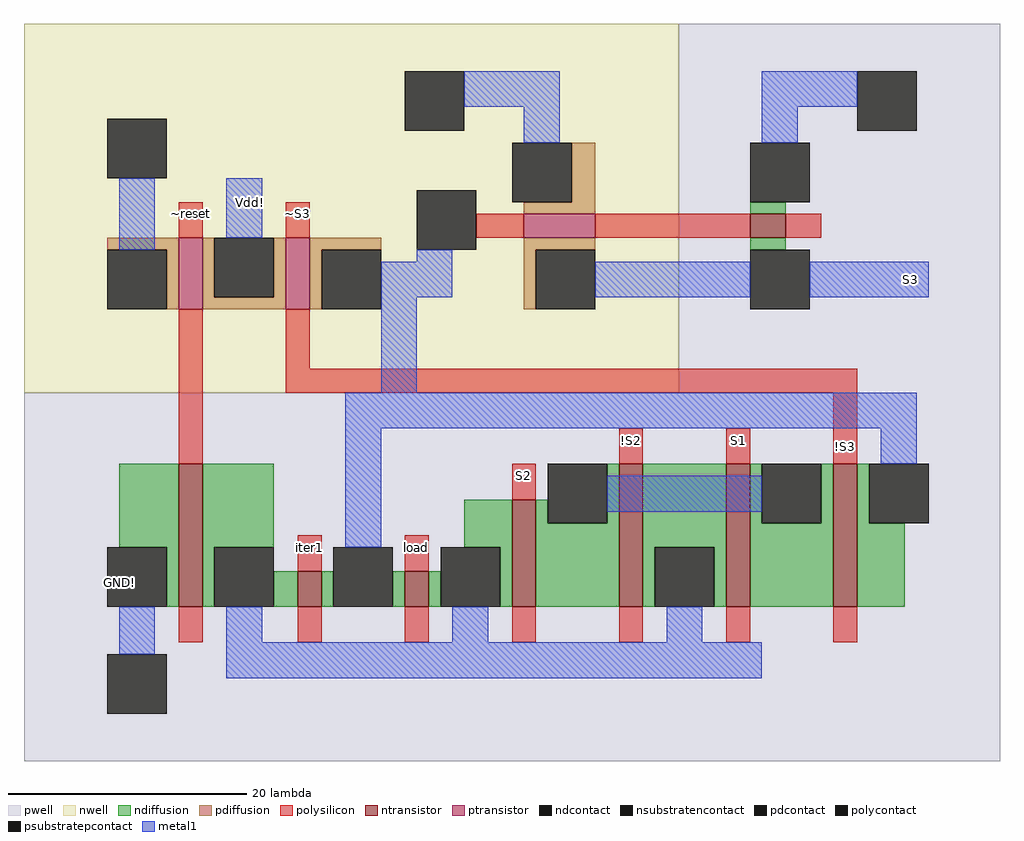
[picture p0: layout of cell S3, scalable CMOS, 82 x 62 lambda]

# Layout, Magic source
magic
tech scmos
<< nwell >>
rect -78 35 -23 66
<< pwell >>
rect -23 35 4 66
rect -78 4 4 35
<< ntransistor >>
rect -17 48 -14 50
rect -65 17 -63 29
rect -55 17 -53 20
rect -46 17 -44 20
rect -37 17 -35 26
rect -28 17 -26 29
rect -19 17 -17 29
rect -10 17 -8 29
<< ptransistor >>
rect -65 42 -63 48
rect -56 42 -54 48
rect -36 48 -30 50
<< ndiffusion >>
rect -17 50 -14 51
rect -17 47 -14 48
rect -70 22 -65 29
rect -66 17 -65 22
rect -63 22 -57 29
rect -63 17 -62 22
rect -57 17 -55 20
rect -53 17 -52 20
rect -41 22 -37 26
rect -47 17 -46 20
rect -44 17 -43 20
rect -38 17 -37 22
rect -35 24 -34 26
rect -29 24 -28 29
rect -35 17 -28 24
rect -26 22 -19 29
rect -26 17 -25 22
rect -20 17 -19 22
rect -17 24 -16 29
rect -11 24 -10 29
rect -17 17 -10 24
rect -8 24 -7 29
rect -8 17 -4 24
<< pdiffusion >>
rect -71 47 -65 48
rect -66 42 -65 47
rect -63 43 -62 48
rect -57 43 -56 48
rect -63 42 -56 43
rect -54 47 -48 48
rect -32 51 -30 56
rect -36 50 -30 51
rect -36 47 -30 48
rect -54 42 -53 47
rect -36 42 -35 47
<< ndcontact >>
rect -17 51 -12 56
rect -17 42 -12 47
rect -71 17 -66 22
rect -62 17 -57 22
rect -52 17 -47 22
rect -43 17 -38 22
rect -34 24 -29 29
rect -25 17 -20 22
rect -16 24 -11 29
rect -7 24 -2 29
<< pdcontact >>
rect -71 42 -66 47
rect -62 43 -57 48
rect -37 51 -32 56
rect -53 42 -48 47
rect -35 42 -30 47
<< psubstratepcontact >>
rect -8 57 -3 62
rect -71 8 -66 13
<< nsubstratencontact >>
rect -71 53 -66 58
rect -46 57 -41 62
<< polysilicon >>
rect -65 48 -63 51
rect -56 48 -54 51
rect -40 48 -36 50
rect -30 48 -17 50
rect -14 48 -11 50
rect -65 29 -63 42
rect -56 37 -54 42
rect -56 35 -8 37
rect -28 29 -26 32
rect -19 29 -17 32
rect -10 29 -8 35
rect -37 26 -35 29
rect -55 20 -53 23
rect -46 20 -44 23
rect -65 14 -63 17
rect -55 14 -53 17
rect -46 14 -44 17
rect -37 14 -35 17
rect -28 14 -26 17
rect -19 14 -17 17
rect -10 14 -8 17
<< polycontact >>
rect -45 47 -40 52
<< metal1 >>
rect -41 59 -33 62
rect -36 56 -33 59
rect -16 59 -8 62
rect -16 56 -13 59
rect -70 47 -67 53
rect -61 48 -58 53
rect -45 46 -42 47
rect -48 43 -42 46
rect -48 35 -45 43
rect -30 43 -17 46
rect -12 43 -2 46
rect -51 32 -3 35
rect -51 22 -48 32
rect -6 29 -3 32
rect -29 25 -16 28
rect -70 13 -67 17
rect -61 14 -58 17
rect -42 14 -39 17
rect -24 14 -21 17
rect -61 11 -16 14
<< labels >>
rlabel polysilicon -65 49 -63 51 1 ~reset
rlabel ndcontact -71 18 -69 20 1 GND!
rlabel metal1 -60 50 -58 52 1 Vdd!
rlabel polysilicon -56 49 -54 51 1 ~S3
rlabel polysilicon -55 21 -53 23 1 iter1
rlabel polysilicon -46 21 -44 23 1 load
rlabel polysilicon -28 30 -26 32 1 !S2
rlabel polysilicon -37 27 -35 29 1 S2
rlabel polysilicon -19 30 -17 32 1 S1
rlabel polysilicon -10 30 -8 31 1 !S3
rlabel metal1 -5 43 -2 46 1 S3
<< end >>
